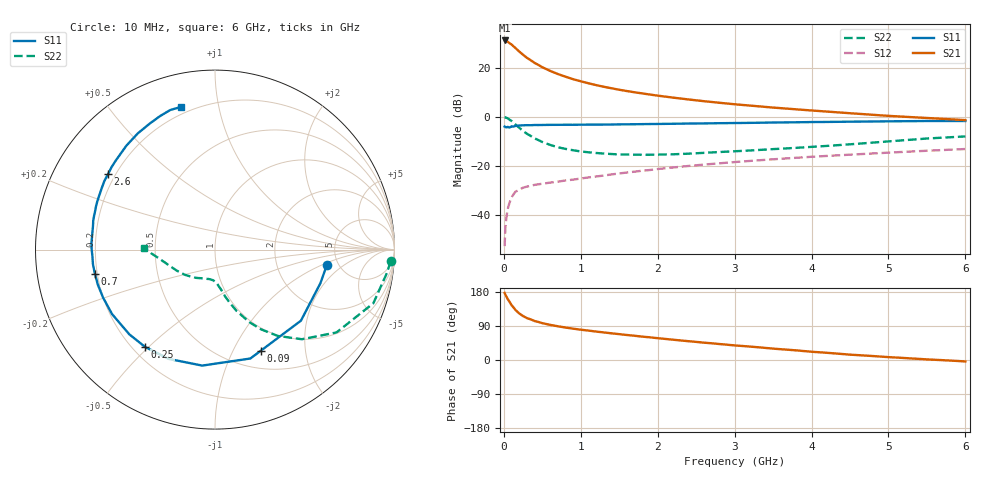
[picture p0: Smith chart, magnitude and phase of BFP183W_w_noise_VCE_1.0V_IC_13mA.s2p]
! Infineon Technologies  Discrete & RF Semiconductors
! BFP183W
! VCE =  1.0 V,  IC =  13 mA
! Common Emitter S-Parameters:  Jan 2017
# GHz  S  MA  R  50
!  f  S11  S21  S12  S22
! GHz  MAG  ANG  MAG  ANG  MAG  ANG  MAG  ANG
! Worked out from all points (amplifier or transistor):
!   77 points, 10 MHz to 6 GHz, reference 50 ohm
!   highest |S21| = 31.1 dB at 10 MHz (marker M1)
!   |S21| within 3 dB of that: start of sweep to 148 MHz
!   unconditionally stable (mu >= 1): 1.245 GHz to 4.824 GHz
!   at 130 MHz: K = 0.18, MSG = 30.0 dB, |S12| = -31.5 dB
!   at 2.2 GHz: K = 1.10, MAG = 12.3 dB, |S12| = -20.7 dB
!   at 6 GHz: K = 0.94, MSG = 5.9 dB, |S12| = -13.2 dB
!   lowest NFmin = 1.01 dB at 450 MHz
!   S11 on the Smith chart (normalised r, x): 10 MHz: 4.07, -1.12; 90 MHz: 0.70, -1.29; 250 MHz: 0.25, -0.49; 700 MHz: 0.19, -0.10; 2.6 GHz: 0.17, +0.31; 6 GHz: 0.16, +0.78
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0.01  0.6297 -7.6  35.74 177.0  0.0023 86.0  0.9807 -3.8
0.02  0.6164 -17.7  35.28 172.3  0.0055 87.5  0.9669 -7.7
0.05  0.6213 -39.6  33.74 160.9  0.013 71.4  0.9315 -18.7
0.09  0.6189 -65.8  30.2 148.1  0.0207 64.0  0.8363 -30.9
0.1  0.638 -72.0  29.59 144.5  0.0227 62.9  0.8192 -34.3
0.15  0.6502 -96.3  25.15 132.2  0.0295 52.1  0.6953 -45.9
0.2  0.6614 -113.0  21.3 122.9  0.0324 46.0  0.5945 -54.0
0.25  0.6677 -125.7  18.27 115.9  0.0358 41.6  0.513 -60.0
0.3  0.6714 -135.3  15.84 110.6  0.0376 39.4  0.4493 -64.5
0.4  0.6768 -148.0  12.47 102.8  0.0408 37.7  0.3616 -70.7
0.5  0.6785 -156.9  10.19 97.2  0.0431 37.5  0.3051 -74.7
0.6  0.6815 -163.5  8.606 92.8  0.0453 37.6  0.2668 -77.8
0.7  0.6826 -168.7  7.424 89.1  0.0474 39.1  0.2392 -79.9
0.9  0.684 -177.0  5.812 82.7  0.0522 41.9  0.2071 -83.9
1.1  0.6892 176.7  4.794 77.6  0.0579 44.0  0.1883 -86.9
1.5  0.6972 166.7  3.539 68.2  0.0698 47.7  0.1704 -94.4
2.1  0.7138 153.8  2.563 55.6  0.089 49.7  0.17 -107.7
2.6  0.7293 144.9  2.07 45.8  0.1056 49.1  0.1833 -120.1
3.1  0.7452 136.6  1.737 37.0  0.1222 47.8  0.2011 -131.5
4.1  0.7793 122.3  1.304 20.4  0.1555 43.7  0.248 -153.3
5.1  0.8066 111.4  1.019 6.5  0.1884 38.4  0.3222 -172.1
6  0.8173 103.3  0.852 -3.8  0.2194 32.9  0.3962 178.4
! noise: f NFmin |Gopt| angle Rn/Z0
0.45  1.01  0.12  144  0.1
0.9  1.04  0.19  155  0.09
1.9  1.52  0.38  -172  0.08
2.4  1.75  0.44  -164  0.1
